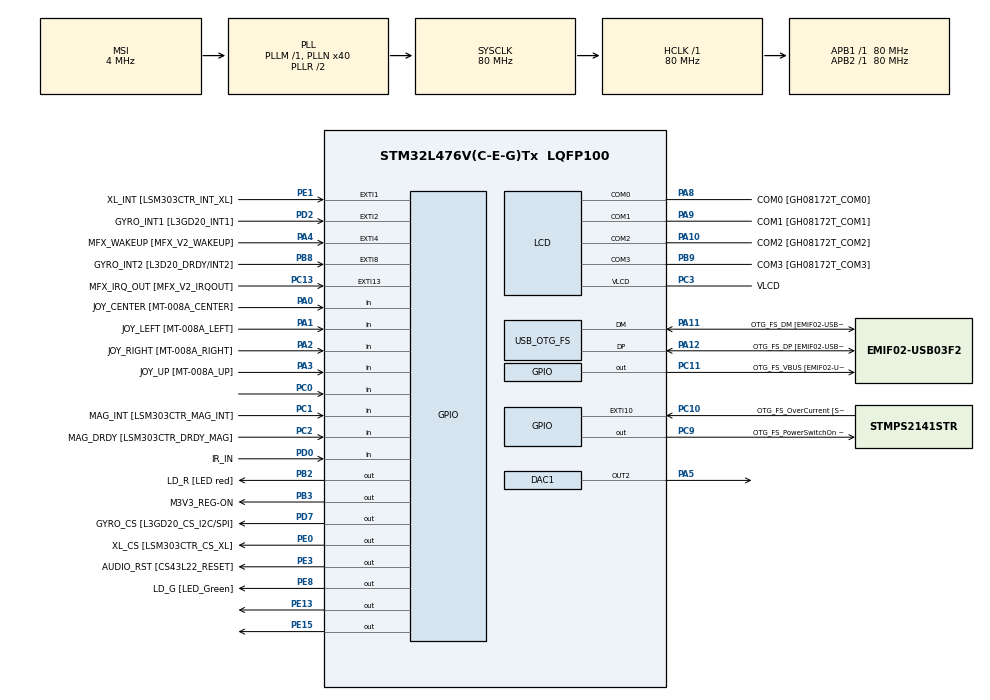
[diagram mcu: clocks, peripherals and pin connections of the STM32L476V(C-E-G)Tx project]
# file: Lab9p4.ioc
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DAC1.DAC_Channel-DAC_OUT2=DAC_CHANNEL_2
FATFS._USE_LFN=1
Mcu.Family=STM32L4
Mcu.Name=STM32L476V(C-E-G)Tx
Mcu.Package=LQFP100
NVIC.LCD_IRQn=true\:0\:0\:false\:false\:true\:true\:false\:true
NVIC.OTG_FS_IRQn=true\:0\:0\:false\:false\:true\:true\:true\:true
NVIC.PriorityGroup=NVIC_PRIORITYGROUP_4
NVIC.TIM1_TRG_COM_TIM17_IRQn=true\:0\:0\:false\:false\:true\:true\:true\:true
NVIC.TIM1_UP_TIM16_IRQn=true\:0\:0\:false\:false\:true\:true\:true\:true
NVIC.TIM2_IRQn=true\:0\:0\:false\:false\:true\:true\:true\:true
NVIC.TIM6_DAC_IRQn=true\:0\:0\:false\:false\:true\:true\:true\:true
NVIC.TIM7_IRQn=true\:0\:0\:false\:false\:true\:true\:true\:true
PA0.GPIO_Label=JOY_CENTER [MT-008A_CENTER]
PA0.GPIO_Mode=GPIO_MODE_INPUT
PA0.GPIO_PuPd=GPIO_PULLDOWN
PA0.Signal=GPIO_Input
PA1.GPIO_Label=JOY_LEFT [MT-008A_LEFT]
PA1.GPIO_Mode=GPIO_MODE_INPUT
PA1.GPIO_PuPd=GPIO_PULLDOWN
PA1.Signal=GPIO_Input
PA10.GPIO_Label=COM2 [GH08172T_COM2]
PA10.GPIO_Mode=GPIO_MODE_AF_PP
PA10.GPIO_PuPd=GPIO_NOPULL
PA10.GPIO_Speed=GPIO_SPEED_FREQ_LOW
PA10.Mode=1/4 Duty Cycle
PA10.Signal=LCD_COM2
PA11.GPIO_Label=OTG_FS_DM [EMIF02-USB03F2_D-out]
PA11.GPIO_Mode=GPIO_MODE_AF_PP
PA11.GPIO_PuPd=GPIO_NOPULL
PA11.GPIO_Speed=GPIO_SPEED_FREQ_VERY_HIGH
PA11.Mode=Host_Only
PA11.Signal=USB_OTG_FS_DM
PA12.GPIO_Label=OTG_FS_DP [EMIF02-USB03F2_D+out]
PA12.GPIO_Mode=GPIO_MODE_AF_PP
PA12.GPIO_PuPd=GPIO_NOPULL
PA12.GPIO_Speed=GPIO_SPEED_FREQ_VERY_HIGH
PA12.Mode=Host_Only
PA12.Signal=USB_OTG_FS_DP
PA13\ (JTMS-SWDIO).GPIO_Label=SWDIO
PA13\ (JTMS-SWDIO).Mode=Serial_Wire
PA13\ (JTMS-SWDIO).Signal=SYS_JTMS-SWDIO
PA14\ (JTCK-SWCLK).GPIO_Label=SWCLK
PA14\ (JTCK-SWCLK).Mode=Serial_Wire
PA14\ (JTCK-SWCLK).Signal=SYS_JTCK-SWCLK
PA15\ (JTDI).GPIO_Label=SEG10 [GH08172T_SEG10]
PA15\ (JTDI).GPIO_Mode=GPIO_MODE_AF_PP
PA15\ (JTDI).GPIO_PuPd=GPIO_NOPULL
PA15\ (JTDI).GPIO_Speed=GPIO_SPEED_FREQ_LOW
PA15\ (JTDI).Signal=LCD_SEG17
PA2.GPIO_Label=JOY_RIGHT [MT-008A_RIGHT]
PA2.GPIO_Mode=GPIO_MODE_INPUT
PA2.GPIO_PuPd=GPIO_PULLDOWN
PA2.Signal=GPIO_Input
PA3.GPIO_Label=JOY_UP [MT-008A_UP]
PA3.GPIO_Mode=GPIO_MODE_INPUT
PA3.GPIO_PuPd=GPIO_PULLDOWN
PA3.Signal=GPIO_Input
PA4.GPIO_Label=MFX_WAKEUP [MFX_V2_WAKEUP]
PA4.GPIO_ModeDefaultEXTI=GPIO_MODE_EVT_RISING
PA4.GPIO_PuPd=GPIO_NOPULL
PA4.Signal=GPXTI4
PA5.Signal=COMP_DAC12_group
PA6.GPIO_Label=SEG23 [GH08172T_SEG23]
PA6.GPIO_Mode=GPIO_MODE_AF_PP
PA6.GPIO_PuPd=GPIO_NOPULL
PA6.GPIO_Speed=GPIO_SPEED_FREQ_LOW
PA6.Signal=LCD_SEG3
PA7.GPIO_Label=SEG0 [GH08172T_SEG0]
PA7.GPIO_Mode=GPIO_MODE_AF_PP
PA7.GPIO_PuPd=GPIO_NOPULL
PA7.GPIO_Speed=GPIO_SPEED_FREQ_LOW
PA7.Signal=LCD_SEG4
PA8.GPIO_Label=COM0 [GH08172T_COM0]
PA8.GPIO_Mode=GPIO_MODE_AF_PP
PA8.GPIO_PuPd=GPIO_NOPULL
PA8.GPIO_Speed=GPIO_SPEED_FREQ_LOW
PA8.Mode=1/4 Duty Cycle
PA8.Signal=LCD_COM0
PA9.GPIO_Label=COM1 [GH08172T_COM1]
PA9.GPIO_Mode=GPIO_MODE_AF_PP
PA9.GPIO_PuPd=GPIO_NOPULL
PA9.GPIO_Speed=GPIO_SPEED_FREQ_LOW
PA9.Mode=1/4 Duty Cycle
PA9.Signal=LCD_COM1
PB0.GPIO_Label=SEG21 [GH08172T_SEG21]
PB0.GPIO_Mode=GPIO_MODE_AF_PP
PB0.GPIO_PuPd=GPIO_NOPULL
PB0.GPIO_Speed=GPIO_SPEED_FREQ_LOW
PB0.Signal=LCD_SEG5
PB1.GPIO_Label=SEG2 [GH08172T_SEG2]
PB1.GPIO_Mode=GPIO_MODE_AF_PP
PB1.GPIO_PuPd=GPIO_NOPULL
PB1.GPIO_Speed=GPIO_SPEED_FREQ_LOW
PB1.Signal=LCD_SEG6
PB10.GPIO_Label=MFX_I2C_SLC [MFX_V2_I2C_SCL]
PB10.GPIO_Mode=GPIO_MODE_AF_OD
PB10.GPIO_PuPdOD=GPIO_PULLUP
PB10.GPIO_Speed=GPIO_SPEED_FREQ_VERY_HIGH
PB10.Signal=I2C2_SCL
PB11.GPIO_Label=MFX_I2C_SDA [MFX_V2_I2C_SDA]
PB11.GPIO_Mode=GPIO_MODE_AF_OD
PB11.GPIO_PuPdOD=GPIO_PULLUP
PB11.GPIO_Speed=GPIO_SPEED_FREQ_VERY_HIGH
PB11.Signal=I2C2_SDA
PB12.GPIO_Label=SEG20 [GH08172T_SEG20]
PB12.GPIO_Mode=GPIO_MODE_AF_PP
PB12.GPIO_PuPd=GPIO_NOPULL
PB12.GPIO_Speed=GPIO_SPEED_FREQ_LOW
PB12.Signal=LCD_SEG12
PB13.GPIO_Label=SEG3 [GH08172T_SEG3]
PB13.GPIO_Mode=GPIO_MODE_AF_PP
PB13.GPIO_PuPd=GPIO_NOPULL
PB13.GPIO_Speed=GPIO_SPEED_FREQ_LOW
PB13.Signal=LCD_SEG13
PB14.GPIO_Label=SEG19 [GH08172T_SEG19]
PB14.GPIO_Mode=GPIO_MODE_AF_PP
PB14.GPIO_PuPd=GPIO_NOPULL
PB14.GPIO_Speed=GPIO_SPEED_FREQ_LOW
PB14.Signal=LCD_SEG14
PB15.GPIO_Label=SEG4 [GH08172T_SEG4]
PB15.GPIO_Mode=GPIO_MODE_AF_PP
PB15.GPIO_PuPd=GPIO_NOPULL
PB15.GPIO_Speed=GPIO_SPEED_FREQ_LOW
PB15.Signal=LCD_SEG15
PB2.GPIO_Label=LD_R [LED red]
PB2.GPIO_ModeDefaultOutputPP=GPIO_MODE_OUTPUT_PP
PB2.GPIO_PuPd=GPIO_PULLUP
PB2.GPIO_Speed=GPIO_SPEED_FREQ_VERY_HIGH
PB2.Signal=GPIO_Output
PB3\ (JTDO-TRACESWO).GPIO_Label=M3V3_REG-ON
PB3\ (JTDO-TRACESWO).GPIO_ModeDefaultOutputPP=GPIO_MODE_OUTPUT_PP
PB3\ (JTDO-TRACESWO).GPIO_PuPd=GPIO_NOPULL
PB3\ (JTDO-TRACESWO).GPIO_Speed=GPIO_SPEED_FREQ_LOW
PB3\ (JTDO-TRACESWO).Signal=GPIO_Output
PB4\ (NJTRST).GPIO_Label=SEG11 [GH08172T_SEG11]
PB4\ (NJTRST).GPIO_Mode=GPIO_MODE_AF_PP
PB4\ (NJTRST).GPIO_PuPd=GPIO_NOPULL
PB4\ (NJTRST).GPIO_Speed=GPIO_SPEED_FREQ_LOW
PB4\ (NJTRST).Signal=LCD_SEG8
PB5.GPIO_Label=SEG12 [GH08172T_SEG12]
PB5.GPIO_Mode=GPIO_MODE_AF_PP
PB5.GPIO_PuPd=GPIO_NOPULL
PB5.GPIO_Speed=GPIO_SPEED_FREQ_LOW
PB5.Signal=LCD_SEG9
PB6.GPIO_FM6=__NULL
PB6.GPIO_Label=I2C1_SCL [SSM-104-L-DH_SCL]
PB6.GPIO_Mode=GPIO_MODE_AF_OD
PB6.GPIO_PuPdOD=GPIO_PULLUP
PB6.GPIO_Speed=GPIO_SPEED_FREQ_VERY_HIGH
PB6.Signal=I2C1_SCL
PB7.GPIO_FM7=__NULL
PB7.GPIO_Label=I2C1_SDA [SSM-104-L-DH_SDA]
PB7.GPIO_Mode=GPIO_MODE_AF_OD
PB7.GPIO_PuPdOD=GPIO_PULLUP
PB7.GPIO_Speed=GPIO_SPEED_FREQ_VERY_HIGH
PB7.Signal=I2C1_SDA
PB8.GPIO_Label=GYRO_INT2 [L3D20_DRDY/INT2]
PB8.GPIO_ModeDefaultEXTI=GPIO_MODE_EVT_RISING
PB8.GPIO_PuPd=GPIO_NOPULL
PB8.Signal=GPXTI8
PB9.GPIO_FM9=__NULL
PB9.GPIO_Label=COM3 [GH08172T_COM3]
PB9.GPIO_Mode=GPIO_MODE_AF_PP
PB9.GPIO_PuPd=GPIO_NOPULL
PB9.GPIO_Speed=GPIO_SPEED_FREQ_LOW
PB9.Mode=1/4 Duty Cycle
PB9.Signal=LCD_COM3
PC0.Signal=GPIO_Input
PC1.GPIO_Label=MAG_INT [LSM303CTR_MAG_INT]
PC1.GPIO_Mode=GPIO_MODE_INPUT
PC1.GPIO_PuPd=GPIO_NOPULL
PC1.Signal=GPIO_Input
PC10.GPIO_Label=OTG_FS_OverCurrent [STMPS2141STR_FAULT]
PC10.GPIO_ModeDefaultEXTI=GPIO_MODE_EVT_RISING
PC10.GPIO_PuPd=GPIO_NOPULL
PC10.Signal=GPXTI10
PC11.GPIO_Label=OTG_FS_VBUS [EMIF02-USB03F2_Vbus]
PC11.GPIO_ModeDefaultOutputPP=GPIO_MODE_OUTPUT_PP
PC11.GPIO_PuPd=GPIO_NOPULL
PC11.GPIO_Speed=GPIO_SPEED_FREQ_LOW
PC11.Signal=GPIO_Output
PC13.GPIO_Label=MFX_IRQ_OUT [MFX_V2_IRQOUT]
PC13.GPIO_ModeDefaultEXTI=GPIO_MODE_EVT_RISING
PC13.GPIO_PuPd=GPIO_NOPULL
PC13.Signal=GPXTI13
PC14-OSC32_IN\ (PC14).Mode=LSE-External-Oscillator
PC14-OSC32_IN\ (PC14).Signal=RCC_OSC32_IN
PC15-OSC32_OUT\ (PC15).Mode=LSE-External-Oscillator
PC15-OSC32_OUT\ (PC15).Signal=RCC_OSC32_OUT
PC2.GPIO_Label=MAG_DRDY [LSM303CTR_DRDY_MAG]
PC2.GPIO_Mode=GPIO_MODE_INPUT
PC2.GPIO_PuPd=GPIO_NOPULL
PC2.Signal=GPIO_Input
PC3.GPIO_Label=VLCD
PC3.GPIO_Mode=GPIO_MODE_AF_PP
PC3.GPIO_PuPd=GPIO_NOPULL
PC3.GPIO_Speed=GPIO_SPEED_FREQ_LOW
PC3.Mode=1/4 Duty Cycle
PC3.Signal=LCD_VLCD
PC4.GPIO_Label=SEG22 [GH08172T_SEG22]
PC4.GPIO_Mode=GPIO_MODE_AF_PP
PC4.GPIO_PuPd=GPIO_NOPULL
PC4.GPIO_Speed=GPIO_SPEED_FREQ_LOW
PC4.Signal=LCD_SEG22
PC5.GPIO_Label=SEG1 [GH08172T_SEG1]
PC5.GPIO_Mode=GPIO_MODE_AF_PP
PC5.GPIO_PuPd=GPIO_NOPULL
PC5.GPIO_Speed=GPIO_SPEED_FREQ_LOW
PC5.Signal=LCD_SEG23
PC6.GPIO_Label=SEG14 [GH08172T_SEG14]
PC6.GPIO_Mode=GPIO_MODE_AF_PP
PC6.GPIO_PuPd=GPIO_NOPULL
PC6.GPIO_Speed=GPIO_SPEED_FREQ_LOW
PC6.Signal=LCD_SEG24
PC7.GPIO_Label=SEG9 [GH08172T_SEG9]
PC7.GPIO_Mode=GPIO_MODE_AF_PP
PC7.GPIO_PuPd=GPIO_NOPULL
PC7.GPIO_Speed=GPIO_SPEED_FREQ_LOW
PC7.Signal=LCD_SEG25
PC8.GPIO_Label=SEG13 [GH08172T_SEG13]
PC8.GPIO_Mode=GPIO_MODE_AF_PP
PC8.GPIO_PuPd=GPIO_NOPULL
PC8.GPIO_Speed=GPIO_SPEED_FREQ_LOW
PC8.Signal=LCD_SEG26
PC9.GPIO_Label=OTG_FS_PowerSwitchOn [STMPS2141STR_EN]
PC9.GPIO_ModeDefaultOutputPP=GPIO_MODE_OUTPUT_PP
PC9.GPIO_PuPd=GPIO_NOPULL
PC9.GPIO_Speed=GPIO_SPEED_FREQ_LOW
PC9.PinState=GPIO_PIN_SET
PC9.Signal=GPIO_Output
PD0.GPIO_Label=IR_IN
PD0.Signal=GPIO_Input
PD1.GPIO_Label=MEMS_SCK [L3GD20_SCL/SPC]
PD1.GPIO_Mode=GPIO_MODE_AF_PP
PD1.GPIO_PuPd=GPIO_NOPULL
PD1.GPIO_Speed=GPIO_SPEED_FREQ_VERY_HIGH
PD1.Signal=SPI2_SCK
PD10.GPIO_Label=SEG17 [GH08172T_SEG17]
PD10.GPIO_Mode=GPIO_MODE_AF_PP
PD10.GPIO_PuPd=GPIO_NOPULL
PD10.GPIO_Speed=GPIO_SPEED_FREQ_LOW
PD10.Signal=LCD_SEG30
PD11.GPIO_Label=SEG6 [GH08172T_SEG6]
PD11.GPIO_Mode=GPIO_MODE_AF_PP
PD11.GPIO_PuPd=GPIO_NOPULL
PD11.GPIO_Speed=GPIO_SPEED_FREQ_LOW
PD11.Signal=LCD_SEG31
PD12.GPIO_Label=SEG16 [GH08172T_SEG16]
PD12.GPIO_Mode=GPIO_MODE_AF_PP
PD12.GPIO_PuPd=GPIO_NOPULL
PD12.GPIO_Speed=GPIO_SPEED_FREQ_LOW
PD12.Signal=LCD_SEG32
PD13.GPIO_Label=SEG7 [GH08172T_SEG7]
PD13.GPIO_Mode=GPIO_MODE_AF_PP
PD13.GPIO_PuPd=GPIO_NOPULL
PD13.GPIO_Speed=GPIO_SPEED_FREQ_LOW
PD13.Signal=LCD_SEG33
PD14.GPIO_Label=SEG15 [GH08172T_SEG15]
PD14.GPIO_Mode=GPIO_MODE_AF_PP
PD14.GPIO_PuPd=GPIO_NOPULL
PD14.GPIO_Speed=GPIO_SPEED_FREQ_LOW
PD14.Signal=LCD_SEG34
PD15.GPIO_Label=SEG8 [GH08172T_SEG8]
PD15.GPIO_Mode=GPIO_MODE_AF_PP
PD15.GPIO_PuPd=GPIO_NOPULL
PD15.GPIO_Speed=GPIO_SPEED_FREQ_LOW
PD15.Signal=LCD_SEG35
PD2.GPIO_Label=GYRO_INT1 [L3GD20_INT1]
PD2.GPIO_ModeDefaultEXTI=GPIO_MODE_EVT_RISING
PD2.GPIO_PuPd=GPIO_NOPULL
PD2.Signal=GPXTI2
PD3.GPIO_Label=MEMS_MISO [L3GD20_SA0/SDO]
PD3.GPIO_Mode=GPIO_MODE_AF_PP
PD3.GPIO_PuPd=GPIO_NOPULL
PD3.GPIO_Speed=GPIO_SPEED_FREQ_VERY_HIGH
PD3.Signal=SPI2_MISO
PD4.GPIO_Label=MEMS_MOSI [L3GD20_SDA/SDI/SDO]
PD4.GPIO_Mode=GPIO_MODE_AF_PP
PD4.GPIO_PuPd=GPIO_NOPULL
PD4.GPIO_Speed=GPIO_SPEED_FREQ_VERY_HIGH
PD4.Signal=SPI2_MOSI
PD5.GPIO_Label=USART_TX
PD5.GPIO_Mode=GPIO_MODE_AF_PP
PD5.GPIO_PuPd=GPIO_PULLUP
PD5.GPIO_Speed=GPIO_SPEED_FREQ_VERY_HIGH
PD5.Signal=USART2_TX
PD6.GPIO_Label=USART_RX
PD6.GPIO_Mode=GPIO_MODE_AF_PP
PD6.GPIO_PuPd=GPIO_PULLUP
PD6.GPIO_Speed=GPIO_SPEED_FREQ_VERY_HIGH
PD6.Signal=USART2_RX
PD7.GPIO_Label=GYRO_CS [L3GD20_CS_I2C/SPI]
PD7.GPIO_ModeDefaultOutputPP=GPIO_MODE_OUTPUT_PP
PD7.GPIO_PuPd=GPIO_NOPULL
PD7.GPIO_Speed=GPIO_SPEED_FREQ_VERY_HIGH
PD7.Signal=GPIO_Output
PD8.GPIO_Label=SEG18 [GH08172T_SEG18]
PD8.GPIO_Mode=GPIO_MODE_AF_PP
PD8.GPIO_PuPd=GPIO_NOPULL
PD8.GPIO_Speed=GPIO_SPEED_FREQ_LOW
PD8.Signal=LCD_SEG28
PD9.GPIO_Label=SEG5 [GH08172T_SEG5]
PD9.GPIO_Mode=GPIO_MODE_AF_PP
PD9.GPIO_PuPd=GPIO_NOPULL
PD9.GPIO_Speed=GPIO_SPEED_FREQ_LOW
PD9.Signal=LCD_SEG29
PE0.GPIO_Label=XL_CS [LSM303CTR_CS_XL]
PE0.GPIO_ModeDefaultOutputPP=GPIO_MODE_OUTPUT_PP
PE0.GPIO_PuPd=GPIO_NOPULL
PE0.GPIO_Speed=GPIO_SPEED_FREQ_LOW
PE0.Signal=GPIO_Output
PE1.GPIO_Label=XL_INT [LSM303CTR_INT_XL]
PE1.GPIO_ModeDefaultEXTI=GPIO_MODE_EVT_RISING
PE1.GPIO_PuPd=GPIO_NOPULL
PE1.Signal=GPXTI1
PE10.GPIO_Label=QSPI_CLK [N25Q128A13EF840E_C]
PE10.GPIO_Mode=GPIO_MODE_AF_PP
PE10.GPIO_PuPd=GPIO_NOPULL
PE10.GPIO_Speed=GPIO_SPEED_FREQ_VERY_HIGH
PE10.Signal=QUADSPI_CLK
PE11.GPIO_Label=QSPI_CS [N25Q128A13EF840E_S\#]
PE11.GPIO_Mode=GPIO_MODE_AF_PP
PE11.GPIO_PuPd=GPIO_NOPULL
PE11.GPIO_Speed=GPIO_SPEED_FREQ_VERY_HIGH
PE11.Signal=QUADSPI_NCS
PE12.GPIO_Label=QSPI_D0 [N25Q128A13EF840E_DQ0]
PE12.GPIO_Mode=GPIO_MODE_AF_PP
PE12.GPIO_PuPd=GPIO_NOPULL
PE12.GPIO_Speed=GPIO_SPEED_FREQ_VERY_HIGH
PE12.Signal=QUADSPI_BK1_IO0
PE13.Signal=GPIO_Output
PE14.GPIO_Label=QSPI_D2 [N25Q128A13EF840E_DQ2]
PE14.GPIO_Mode=GPIO_MODE_AF_PP
PE14.GPIO_PuPd=GPIO_NOPULL
PE14.GPIO_Speed=GPIO_SPEED_FREQ_VERY_HIGH
PE14.Signal=QUADSPI_BK1_IO2
PE15.Signal=GPIO_Output
PE2.GPIO_Label=SAI1_MCK [CS43L22_MCLK]
PE2.GPIO_Mode=GPIO_MODE_AF_PP
PE2.GPIO_PuPd=GPIO_NOPULL
PE2.GPIO_Speed=GPIO_SPEED_FREQ_VERY_HIGH
PE2.Signal=SAI1_MCLK_A
PE3.GPIO_Label=AUDIO_RST [CS43L22_RESET]
PE3.GPIO_ModeDefaultOutputPP=GPIO_MODE_OUTPUT_PP
PE3.GPIO_PuPd=GPIO_NOPULL
PE3.GPIO_Speed=GPIO_SPEED_FREQ_HIGH
PE3.Signal=GPIO_Output
PE4.GPIO_Label=SAI1_FS [CS43L22_LRCK]
PE4.GPIO_Mode=GPIO_MODE_AF_PP
PE4.GPIO_PuPd=GPIO_NOPULL
PE4.GPIO_Speed=GPIO_SPEED_FREQ_VERY_HIGH
PE4.Signal=SAI1_FS_A
PE5.GPIO_Label=SAI1_SCK [CS43L22_SCLK]
PE5.GPIO_Mode=GPIO_MODE_AF_PP
PE5.GPIO_PuPd=GPIO_NOPULL
PE5.GPIO_Speed=GPIO_SPEED_FREQ_VERY_HIGH
PE5.Signal=SAI1_SCK_A
PE6.GPIO_Label=SAI1_SD [CS43L22_SDIN]
PE6.GPIO_Mode=GPIO_MODE_AF_PP
PE6.GPIO_PuPd=GPIO_NOPULL
PE6.GPIO_Speed=GPIO_SPEED_FREQ_VERY_HIGH
PE6.Signal=SAI1_SD_A
PE7.GPIO_Label=AUDIO_DIN [MP34DT01_DOUT]
PE7.GPIO_Mode=GPIO_MODE_AF_PP
PE7.GPIO_PuPd=GPIO_NOPULL
PE7.GPIO_Speed=GPIO_SPEED_FREQ_VERY_HIGH
PE7.Signal=SAI1_SD_B
PE8.GPIO_Label=LD_G [LED_Green]
PE8.GPIO_ModeDefaultOutputPP=GPIO_MODE_OUTPUT_PP
PE8.GPIO_PuPd=GPIO_PULLUP
PE8.GPIO_Speed=GPIO_SPEED_FREQ_VERY_HIGH
PE8.Signal=GPIO_Output
PE9.GPIO_Label=AUDIO_CLK [MP34DT01_CLK]
PE9.GPIO_Mode=GPIO_MODE_AF_PP
PE9.GPIO_PuPd=GPIO_NOPULL
PE9.GPIO_Speed=GPIO_SPEED_FREQ_LOW
PE9.Signal=SAI1_FS_B
PH0-OSC_IN\ (PH0).Mode=HSE-External-Oscillator
PH0-OSC_IN\ (PH0).Signal=RCC_OSC_IN
PH1-OSC_OUT\ (PH1).Mode=HSE-External-Oscillator
PH1-OSC_OUT\ (PH1).Signal=RCC_OSC_OUT
ProjectManager.HeapSize=0x400
ProjectManager.StackSize=0x800
ProjectManager.TargetToolchain=MDK-ARM V5.27
RCC.ADCFreq_Value=48000000
RCC.AHBFreq_Value=80000000
RCC.APB1Freq_Value=80000000
RCC.APB1TimFreq_Value=80000000
RCC.APB2Freq_Value=80000000
RCC.APB2TimFreq_Value=80000000
RCC.CortexFreq_Value=80000000
RCC.HCLKFreq_Value=80000000
RCC.HSE_VALUE=8000000
RCC.HSI_VALUE=16000000
RCC.MSI_VALUE=4000000
RCC.PLLN=40
RCC.PLLSAI1N=24
RCC.PREFETCH_ENABLE=1
RCC.SYSCLKFreq_VALUE=80000000
RCC.SYSCLKSource=RCC_SYSCLKSOURCE_PLLCLK
RCC.USBFreq_Value=48000000
RCC.VCOOutputFreq_Value=160000000
SH.COMP_DAC12_group.0=DAC1_OUT2,DAC_OUT2
TIM16.Period=39999
TIM16.Prescaler=199
TIM17.Period=4999
TIM17.Prescaler=1999
TIM2.Period=39999
TIM2.Prescaler=999
TIM6.Period=999
TIM6.Prescaler=4
TIM6.TIM_MasterOutputTrigger=TIM_TRGO_UPDATE
TIM7.Period=79
TIM7.Prescaler=99
USB_HOST.BSP.number=1
USB_HOST.USBH_HandleTypeDef=hUsbHostFS
USB_HOST.VirtualModeFS=Msc
USB_HOST0.BSP.STBoard=false
USB_HOST0.BSP.api=Unknown
USB_HOST0.BSP.instance=PC9
USB_HOST0.BSP.ip=GPIO
USB_HOST0.BSP.mode=Output
USB_HOST0.BSP.name=Drive_VBUS_FS
USB_HOST0.BSP.solution=PC9
USB_OTG_FS.VirtualMode=Host_Only
USB_OTG_FS.phy_itface=HCD_PHY_EMBEDDED
VP_FATFS_VS_USB.Mode=USB
VP_RTC_VS_RTC_Activate.Mode=RTC_Enabled
VP_TIM16_VS_ClockSourceINT.Mode=Enable_Timer
VP_TIM17_VS_ClockSourceINT.Mode=Enable_Timer
VP_TIM2_VS_ClockSourceINT.Mode=Internal
VP_TIM6_VS_ClockSourceINT.Mode=Enable_Timer
VP_TIM7_VS_ClockSourceINT.Mode=Enable_Timer
VP_USB_HOST_VS_USB_HOST_MSC_FS.Mode=MSC_FS
board=STM32L476G-DISCO

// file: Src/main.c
/* USER CODE BEGIN Header */
/**
  ******************************************************************************
  * @file           : main.c
  * @brief          : Main program body
  ******************************************************************************
  * @attention
  *
  * <h2><center>&copy; Copyright (c) 2020 STMicroelectronics.
  * All rights reserved.</center></h2>
  *
  * This software component is licensed by ST under Ultimate Liberty license
  * SLA0044, the "License"; You may not use this file except in compliance with
  * the License. You may obtain a copy of the License at:
  *                             www.st.com/SLA0044
  *
  ******************************************************************************
  */
/* USER CODE END Header */
#include "main.h"
#include "fatfs.h"
#include "usb_host.h"

/* USER CODE BEGIN Includes */
#include <stdbool.h>
#include "song16.h"
#include "stm32l476g_discovery.h"
#include "stm32l476g_discovery_glass_lcd.h"
#include "display.h"

/* USER CODE END Includes */

DAC_HandleTypeDef hdac1;

LCD_HandleTypeDef hlcd;

RTC_HandleTypeDef hrtc;

TIM_HandleTypeDef htim2;
TIM_HandleTypeDef htim6;
TIM_HandleTypeDef htim7;
TIM_HandleTypeDef htim16;
TIM_HandleTypeDef htim17;

/* USER CODE BEGIN PV */

extern ApplicationTypeDef Appli_state;

int16_t audiobuffer[NUM_ABUF][ABUF_SIZE]; 	/* File read buffer for audio */
volatile bool abuf_full[NUM_ABUF];
bool file_open = false;
int fill_buf = 0;
int lastbuffer = 0;
volatile uint8_t volume = DFLT_VOLUME;		// Volume range is 0 to 255
uint8_t noisehigh[8] = {0xff, 0xdd, 0xbb, 0x99, 0x77, 0x55, 0x33, 0x11};
char *rfilename = "songfile.raw";
volatile unsigned int irdat[SAMPLE_COUNT];
unsigned int z;
extern int IrFlag;
extern int flag;
int temp;
int cond = 1;
int thingyFlag = 0;
char tempString[300]; // changed from 100 after changing SFN to LFN
char tempString2[6];
extern int volume2;
uint8_t ch0 = 3;
extern volatile int seccount;
extern volatile int tenseccount;
extern volatile int tenmincount;
extern volatile int mincount;
extern volatile int tenth;
int index;
int next = 0;
extern int k;
extern int j;
extern int i;
extern int timeFlag;
extern int stringIndex;
int y;
int current_song_index = 0;
char pathbuffer[300]; // changed from 100 after changing SFN to LFN
char songlist[100][300]; // changed from 100 to 300 after changing SFN to LFN
extern int count;
#define IR_A 0x00ff22dd
#define IR_B 0x00ff02fd
#define IR_C 0x00ffc23d
#define IR_POWER 0x00ff629d
#define IR_UP 0x00ff9867
#define IR_DOWN 0x00ff38c7
#define IR_LEFT 0x00ff30cf
#define IR_RIGHT 0x00ff7a85
#define IR_CIRCLE 0x00ff18e7
int globalCount = 0;

FIL MyFile;                   /* File object */

/* USER CODE END PV */

void SystemClock_Config(void);
static void MX_GPIO_Init(void);
static void MX_DAC1_Init(void);
static void MX_TIM6_Init(void);
static void MX_RTC_Init(void);
static void MX_LCD_Init(void);
static void MX_TIM16_Init(void);
static void MX_TIM7_Init(void);
static void MX_TIM17_Init(void);
static void MX_TIM2_Init(void);
void MX_USB_HOST_Process(void);

/* USER CODE BEGIN PFP */

extern void spi32(unsigned int c);
extern void send_array(uint32_t header, uint32_t color, uint32_t end);
/* USER CODE END PFP */

/* USER CODE BEGIN 0 */

FRESULT scan_files(char* path) {
    FRESULT res;
    DIR dir;
    int i;
    index = 0; // Reset the index for the songlist
    static FILINFO fno;
    res = f_opendir(&dir, path); // Open the directory
    if (res == FR_OK) {
        while (1) {
            res = f_readdir(&dir, &fno); // Read a directory item
            if (res != FR_OK || fno.fname[0] == 0) break; // Break on error or end of dir
            if (fno.fattrib & AM_DIR) { // It is a directory
                i = strlen(path);
                sprintf(&path[i], "/%s", fno.fname);
                res = scan_files(path); // Enter the directory
                if (res != FR_OK) break;
                path[i] = 0;
            } else {  // It is a file
							if(strcmp(&fno.fname[strlen(fno.fname)-3], "raw")==0) //raw formerly RAW for SFN
							{
                sprintf(songlist[index], "%s", fno.fname);
                index++;
							}
        }
			}
        f_closedir(&dir);
    }
    return res;
}

static void FS_FileOpen(void) {
    if (f_mount(&USBHFatFS, (TCHAR const*)USBHPath, 0) == FR_OK) {
        // Open the current song file from the songlist
        if (f_open(&MyFile, songlist[current_song_index], FA_READ) == FR_OK) {
            HAL_GPIO_WritePin(LD_G_GPIO_Port, LD_G_Pin, GPIO_PIN_SET);
            file_open = true;
            return;
        }
    }
    HAL_GPIO_WritePin(LD_R_GPIO_Port, LD_R_Pin, GPIO_PIN_SET);
}

static void FS_FileClose(void) {
	/* Close the open text file */
	f_close(&MyFile);
	file_open = false;
}

static void FS_NextSong(void) {
    // Close the current file if it's open
    if (file_open) {
        FS_FileClose();
    }
    // Increment the song index and wrap around if necessary
    current_song_index++;
    if (current_song_index >= 35)
		{ // Assuming 'index' holds the total number of songs
        current_song_index = 0; // Wrap around to the first song
    }
    // Open the next song
    FS_FileOpen();
}
static void FS_FileRead(uint8_t *abuffer) {
	FRESULT res;                            /* FatFs function common result code */
  uint32_t bytesread;                     /* File write/read counts */

	 			/* Read data from the 16-bit raw file if the next buffer is free */
	res = f_read(&MyFile, abuffer, ABUF_BYTE_SIZE, (void *)&bytesread);
	if((bytesread < ABUF_BYTE_SIZE) && (res == FR_OK)) {
		lastbuffer = bytesread;
		for (int i = bytesread/2; i<ABUF_BYTE_SIZE/2; i++) {
			abuffer[i+i+1] = noisehigh[i%8];
			abuffer[i+i] = 0;
		}
	}
}

void write_DAC1Ch2(int16_t dacval, uint8_t volume) {
	int tempval;
	tempval = (((int) dacval * (int) volume) + 8388608) >> 12;
	hdac1.Instance->DHR12R2 = tempval;
}

uint32_t parseIRCode()
	{
    uint32_t num = 0;
		int count = 0;
		int arrayCount = 0;
		uint32_t mask = 0x80000000;
		/*skips header */
		while(irdat[arrayCount] !=0)
		{
			arrayCount++;
		}
		while(irdat[arrayCount] !=1)
		{
			arrayCount++;
		}
		/* skips header */
		while(arrayCount != SAMPLE_COUNT)
		{
			if(irdat[arrayCount] ==0)
			{
				count++;
			}
			else
			{
				if(count < 8 && count !=0)
				{
					mask/=2;
				}
				else if(count > 8 && count != 0)
				{
					num |= mask;
					mask/=2;
				}
				count = 0;
			}
			arrayCount++;
		}
		return num;
	}

/* USER CODE END 0 */

int main(void)
{

  /* MCU Configuration--------------------------------------------------------*/

  /* Reset of all peripherals, Initializes the Flash interface and the Systick. */
  HAL_Init();

  /* Configure the system clock */
  SystemClock_Config();

  /* Initialize all configured peripherals */
  MX_GPIO_Init();
  MX_USB_HOST_Init();
  MX_FATFS_Init();
  MX_DAC1_Init();
  MX_TIM6_Init();
  MX_RTC_Init();
  MX_LCD_Init();
  MX_TIM16_Init();
  MX_TIM7_Init();
  MX_TIM17_Init();
  MX_TIM2_Init();
  /* USER CODE BEGIN 2 */

	/* initialize data structures */

	for (int i=0; i<NUM_ABUF; i++) {
		abuf_full[i] = false;
	}
	/* start devices */

  HAL_DAC_Start(&hdac1, DAC1_CHANNEL_2);
	HAL_TIM_Base_Start_IT(&htim6);			/* Start Timer 6 at 16KHz to run DAC */
	HAL_TIM_Base_Start_IT(&htim16);
	HAL_TIM_Base_Start_IT(&htim7);
	HAL_TIM_Base_Start_IT(&htim17);
	BSP_LCD_GLASS_Init();
	BSP_LCD_GLASS_Clear();
    HAL_TIM_Base_Start_IT(&htim2);
	uint8_t x = 48;//set up all zeroes
	//BSP_LCD_GLASS_DisplayChar(&x, POINT_OFF, DOUBLEPOINT_OFF , 5);
	//BSP_LCD_GLASS_DisplayChar(&x, POINT_OFF, DOUBLEPOINT_OFF , 4);
	//BSP_LCD_GLASS_DisplayChar(&x, POINT_OFF, DOUBLEPOINT_ON , 3);
	//BSP_LCD_GLASS_DisplayChar(&x, POINT_OFF, DOUBLEPOINT_OFF , 2);
	BSP_LCD_GLASS_BarLevelConfig(ch0);
	send_array(0x00000000, 0xe0000000, 0xffffffff);
  /* USER CODE END 2 */

  /* Infinite loop */
  /* USER CODE BEGIN WHILE */
	current_song_index = 25;
  while (1)
  {
      if(flag==2 && lastbuffer !=0)
      {
          IrFlag=1;
          next = 1;
          current_song_index++;
      }
    /* USER CODE END WHILE */
    MX_USB_HOST_Process();

    /* USER CODE BEGIN 3 */
    /* Mass Storage Application State Machine */
      int i1=0;
	while(songlist[current_song_index][i1] != NULL && thingyFlag != 1)
		{

            tempString[i1] = songlist[current_song_index][i1];
            i1++;
            if(songlist[current_song_index][i1] == '~' || songlist[current_song_index][i1] == '.')
            {
                thingyFlag = 1;
            }

		}
		if(IrFlag == 1)
		{
			uint32_t num = parseIRCode();
			if(num == IR_A)
			{

			}
			if(num == IR_B)
			{
				abuf_full[0] = true;
				abuf_full[1] = true;
				for(index=0; index < ABUF_SIZE; index++)
				{
					audiobuffer[0][index] = 0;
					audiobuffer[1][index] = 0;
				}
				if(flag == 2)
				{
					flag = 0;
					Appli_state = APPLICATION_READY;
					count = 0;
					k=0;
				}
				i=0;
				j=0;
				abuf_full[0] = false;
				abuf_full[1] = false;
				fill_buf = 0;
				lastbuffer = 0;
				FS_FileClose();
				file_open = false;
				BSP_LCD_GLASS_Clear();
				x = 48;//set up all zeroes
				seccount = 0;
				tenseccount = 0;
				tenmincount = 0;
				mincount = 0;
				tenth = 0;
				BSP_LCD_GLASS_BarLevelConfig(ch0);
				current_song_index--;
				if(current_song_index<0)
				{
					current_song_index = 34;
				}
				timeFlag=0;
        stringIndex=0;
        thingyFlag = 0;
			  memset(tempString,0,strlen(tempString));
              /*  tempString[0] = NULL;
                tempString[1] = NULL;
                tempString[2] = NULL;
                tempString[3] = NULL; //this was the old method for sfn. Ill keep around just in case
                tempString[4] = NULL;
                tempString[5] = NULL;
                tempString[6] = NULL;
                tempString[7] = NULL; */

			}
			if(num == IR_C)
			{

			}
			if(num == IR_POWER)
			{

			}

			if(num == IR_UP)
			{
				if(volume2+VOLUME_INCREMENT < 255)
				{
					volume2 += VOLUME_INCREMENT;
				}
				if(volume2 > 190)
				{
					ch0=4;
				}
				if(volume2 > 130 && volume2 <= 190)
				{
					ch0=3;
				}
				if(volume2 <= 130 && volume2 > 70)
				{
					ch0=2;
				}
				if(volume2 <=70)
				{
					ch0 = 1;
				}
			}

			if(num == IR_DOWN)
			{
				if(volume2-VOLUME_INCREMENT > 0)
				{
					volume2 -= VOLUME_INCREMENT;
				}
				if(volume2 > 190)
				{
					ch0=4;
				}
				if(volume2 > 130 && volume2 <= 190)
				{
					ch0=3;
				}
				if(volume2 <= 130 && volume2 > 70)
				{
					ch0=2;
				}
				if(volume2 <=70)
				{
					ch0 = 1;
				}
			}

			if(num == IR_LEFT)
			{
				abuf_full[0] = true;
				abuf_full[1] = true;
				for(index=0; index < ABUF_SIZE; index++)
				{
					audiobuffer[0][index] = 0;
					audiobuffer[1][index] = 0;
				}
				if(flag == 2)
				{
					flag = 0;
					Appli_state = APPLICATION_READY;
					count = 0;
					k=0;
				}
				i=0;
				j=0;
				abuf_full[0] = false;
				abuf_full[1] = false;
				fill_buf = 0;
				lastbuffer = 0;
				FS_FileClose();
				file_open = false;
				BSP_LCD_GLASS_Clear();
				x = 48;//set up all zeroes
				seccount = 0;
				tenseccount = 0;
				tenmincount = 0;
				mincount = 0;
				tenth = 0;
				BSP_LCD_GLASS_BarLevelConfig(ch0);
				timeFlag=0;
        stringIndex=0;
        thingyFlag = 0;
        memset(tempString,0,strlen(tempString));
			}
			if(num == IR_RIGHT || next == 1)
			{
				next=0;
				abuf_full[0] = true;
				abuf_full[1] = true;
				for(index=0; index < ABUF_SIZE; index++)
				{
					audiobuffer[0][index] = 0;
					audiobuffer[1][index] = 0;
				}
				if(flag == 2)
				{
					flag = 0;
					Appli_state = APPLICATION_READY;
					count = 0;
					k=0;
				}
				i=0;
				j=0;
				abuf_full[0] = false;
				abuf_full[1] = false;
				fill_buf = 0;
				lastbuffer = 0;
				FS_FileClose();
				file_open = false;
				BSP_LCD_GLASS_Clear();
				x = 48;//set up all zeroes
				seccount = 0;
				tenseccount = 0;
				tenmincount = 0;
				mincount = 0;
				tenth = 0;
				BSP_LCD_GLASS_BarLevelConfig(ch0);
				current_song_index++;
				if(current_song_index>34)
				{
					current_song_index = 0;
				}
				timeFlag=0;
				stringIndex=0;
				thingyFlag = 0;
				memset(tempString,0,strlen(tempString));
			}
			if(num == IR_CIRCLE)
			{
				//HAL_GPIO_TogglePin(LD_G_GPIO_Port, LD_G_Pin);
				if(flag == 2)
				{
					flag = temp;
				}
				else
				{
					temp = flag;
					flag = 2;
				}
			}
			IrFlag=0;
		}

			switch (Appli_state) {
    case APPLICATION_READY:
			if(cond)
			{
				if(f_mount(&USBHFatFS, (TCHAR const*)USBHPath, 0) == FR_OK)
				{
					strcpy(pathbuffer, "");
					if(scan_files(pathbuffer)==FR_OK)
						cond=0;
						current_song_index = 0;
				}
			}
        if (!file_open) FS_FileOpen();
        if (file_open && (lastbuffer == 0)) {
            if (!abuf_full[fill_buf]) {
							FS_FileRead((uint8_t *)audiobuffer[fill_buf]);
                abuf_full[fill_buf++] = true;
                fill_buf = fill_buf % NUM_ABUF;
            }
        }
        if (file_open && (lastbuffer != 0)) {
            FS_FileClose();
            FS_NextSong(); // Proceed to the next song
        }
        break;

    case APPLICATION_IDLE:
    default:
        break;
	}
			if (i!=0)
			{
				y = i;
			}
			else
			{
				y = j;
			}
		}
  /* USER CODE END 3 */
}

void SystemClock_Config(void)
{
  RCC_OscInitTypeDef RCC_OscInitStruct = {0};
  RCC_ClkInitTypeDef RCC_ClkInitStruct = {0};

  /** Configure the main internal regulator output voltage
  */
  if (HAL_PWREx_ControlVoltageScaling(PWR_REGULATOR_VOLTAGE_SCALE1) != HAL_OK)
  {
    Error_Handler();
  }

  /** Configure LSE Drive Capability
  */
  HAL_PWR_EnableBkUpAccess();
  __HAL_RCC_LSEDRIVE_CONFIG(RCC_LSEDRIVE_LOW);

  /** Initializes the RCC Oscillators according to the specified parameters
  * in the RCC_OscInitTypeDef structure.
  */
  RCC_OscInitStruct.OscillatorType = RCC_OSCILLATORTYPE_LSI|RCC_OSCILLATORTYPE_LSE
                              |RCC_OSCILLATORTYPE_MSI;
  RCC_OscInitStruct.LSEState = RCC_LSE_ON;
  RCC_OscInitStruct.LSIState = RCC_LSI_ON;
  RCC_OscInitStruct.MSIState = RCC_MSI_ON;
  RCC_OscInitStruct.MSICalibrationValue = 0;
  RCC_OscInitStruct.MSIClockRange = RCC_MSIRANGE_6;
  RCC_OscInitStruct.PLL.PLLState = RCC_PLL_ON;
  RCC_OscInitStruct.PLL.PLLSource = RCC_PLLSOURCE_MSI;
  RCC_OscInitStruct.PLL.PLLM = 1;
  RCC_OscInitStruct.PLL.PLLN = 40;
  RCC_OscInitStruct.PLL.PLLP = RCC_PLLP_DIV7;
  RCC_OscInitStruct.PLL.PLLQ = RCC_PLLQ_DIV2;
  RCC_OscInitStruct.PLL.PLLR = RCC_PLLR_DIV2;
  if (HAL_RCC_OscConfig(&RCC_OscInitStruct) != HAL_OK)
  {
    Error_Handler();
  }

  /** Initializes the CPU, AHB and APB buses clocks
  */
  RCC_ClkInitStruct.ClockType = RCC_CLOCKTYPE_HCLK|RCC_CLOCKTYPE_SYSCLK
                              |RCC_CLOCKTYPE_PCLK1|RCC_CLOCKTYPE_PCLK2;
  RCC_ClkInitStruct.SYSCLKSource = RCC_SYSCLKSOURCE_PLLCLK;
  RCC_ClkInitStruct.AHBCLKDivider = RCC_SYSCLK_DIV1;
  RCC_ClkInitStruct.APB1CLKDivider = RCC_HCLK_DIV1;
  RCC_ClkInitStruct.APB2CLKDivider = RCC_HCLK_DIV1;

  if (HAL_RCC_ClockConfig(&RCC_ClkInitStruct, FLASH_LATENCY_4) != HAL_OK)
  {
    Error_Handler();
  }

  /** Enable MSI Auto calibration
  */
  HAL_RCCEx_EnableMSIPLLMode();
}

static void MX_DAC1_Init(void)
{

  DAC_ChannelConfTypeDef sConfig = {0};

  /** DAC Initialization
  */
  hdac1.Instance = DAC1;
  if (HAL_DAC_Init(&hdac1) != HAL_OK)
  {
    Error_Handler();
  }

  /** DAC channel OUT2 config
  */
  sConfig.DAC_SampleAndHold = DAC_SAMPLEANDHOLD_DISABLE;
  sConfig.DAC_Trigger = DAC_TRIGGER_NONE;
  sConfig.DAC_OutputBuffer = DAC_OUTPUTBUFFER_ENABLE;
  sConfig.DAC_ConnectOnChipPeripheral = DAC_CHIPCONNECT_DISABLE;
  sConfig.DAC_UserTrimming = DAC_TRIMMING_FACTORY;
  if (HAL_DAC_ConfigChannel(&hdac1, &sConfig, DAC_CHANNEL_2) != HAL_OK)
  {
    Error_Handler();
  }

}

static void MX_LCD_Init(void)
{

  hlcd.Instance = LCD;
  hlcd.Init.Prescaler = LCD_PRESCALER_1;
  hlcd.Init.Divider = LCD_DIVIDER_16;
  hlcd.Init.Duty = LCD_DUTY_1_4;
  hlcd.Init.Bias = LCD_BIAS_1_4;
  hlcd.Init.VoltageSource = LCD_VOLTAGESOURCE_INTERNAL;
  hlcd.Init.Contrast = LCD_CONTRASTLEVEL_0;
  hlcd.Init.DeadTime = LCD_DEADTIME_0;
  hlcd.Init.PulseOnDuration = LCD_PULSEONDURATION_0;
  hlcd.Init.MuxSegment = LCD_MUXSEGMENT_DISABLE;
  hlcd.Init.BlinkMode = LCD_BLINKMODE_OFF;
  hlcd.Init.BlinkFrequency = LCD_BLINKFREQUENCY_DIV8;
  hlcd.Init.HighDrive = LCD_HIGHDRIVE_DISABLE;
  if (HAL_LCD_Init(&hlcd) != HAL_OK)
  {
    Error_Handler();
  }

}

static void MX_RTC_Init(void)
{

  /** Initialize RTC Only
  */
  hrtc.Instance = RTC;
  hrtc.Init.HourFormat = RTC_HOURFORMAT_24;
  hrtc.Init.AsynchPrediv = 127;
  hrtc.Init.SynchPrediv = 255;
  hrtc.Init.OutPut = RTC_OUTPUT_DISABLE;
  hrtc.Init.OutPutRemap = RTC_OUTPUT_REMAP_NONE;
  hrtc.Init.OutPutPolarity = RTC_OUTPUT_POLARITY_HIGH;
  hrtc.Init.OutPutType = RTC_OUTPUT_TYPE_OPENDRAIN;
  if (HAL_RTC_Init(&hrtc) != HAL_OK)
  {
    Error_Handler();
  }

}

static void MX_TIM2_Init(void)
{

  TIM_ClockConfigTypeDef sClockSourceConfig = {0};
  TIM_MasterConfigTypeDef sMasterConfig = {0};

  htim2.Instance = TIM2;
  htim2.Init.Prescaler = 999;
  htim2.Init.CounterMode = TIM_COUNTERMODE_UP;
  htim2.Init.Period = 39999;
  htim2.Init.ClockDivision = TIM_CLOCKDIVISION_DIV1;
  htim2.Init.AutoReloadPreload = TIM_AUTORELOAD_PRELOAD_DISABLE;
  if (HAL_TIM_Base_Init(&htim2) != HAL_OK)
  {
    Error_Handler();
  }
  sClockSourceConfig.ClockSource = TIM_CLOCKSOURCE_INTERNAL;
  if (HAL_TIM_ConfigClockSource(&htim2, &sClockSourceConfig) != HAL_OK)
  {
    Error_Handler();
  }
  sMasterConfig.MasterOutputTrigger = TIM_TRGO_RESET;
  sMasterConfig.MasterSlaveMode = TIM_MASTERSLAVEMODE_DISABLE;
  if (HAL_TIMEx_MasterConfigSynchronization(&htim2, &sMasterConfig) != HAL_OK)
  {
    Error_Handler();
  }

}

static void MX_TIM6_Init(void)
{

  TIM_MasterConfigTypeDef sMasterConfig = {0};

  htim6.Instance = TIM6;
  htim6.Init.Prescaler = 4;
  htim6.Init.CounterMode = TIM_COUNTERMODE_UP;
  htim6.Init.Period = 999;
  htim6.Init.AutoReloadPreload = TIM_AUTORELOAD_PRELOAD_DISABLE;
  if (HAL_TIM_Base_Init(&htim6) != HAL_OK)
  {
    Error_Handler();
  }
  sMasterConfig.MasterOutputTrigger = TIM_TRGO_UPDATE;
  sMasterConfig.MasterSlaveMode = TIM_MASTERSLAVEMODE_DISABLE;
  if (HAL_TIMEx_MasterConfigSynchronization(&htim6, &sMasterConfig) != HAL_OK)
  {
    Error_Handler();
  }

}

static void MX_TIM7_Init(void)
{

  TIM_MasterConfigTypeDef sMasterConfig = {0};

  htim7.Instance = TIM7;
  htim7.Init.Prescaler = 99;
  htim7.Init.CounterMode = TIM_COUNTERMODE_UP;
  htim7.Init.Period = 79;
  htim7.Init.AutoReloadPreload = TIM_AUTORELOAD_PRELOAD_DISABLE;
  if (HAL_TIM_Base_Init(&htim7) != HAL_OK)
  {
    Error_Handler();
  }
  sMasterConfig.MasterOutputTrigger = TIM_TRGO_RESET;
  sMasterConfig.MasterSlaveMode = TIM_MASTERSLAVEMODE_DISABLE;
  if (HAL_TIMEx_MasterConfigSynchronization(&htim7, &sMasterConfig) != HAL_OK)
  {
    Error_Handler();
  }

}

static void MX_TIM16_Init(void)
{

  htim16.Instance = TIM16;
  htim16.Init.Prescaler = 199;
  htim16.Init.CounterMode = TIM_COUNTERMODE_UP;
  htim16.Init.Period = 39999;
  htim16.Init.ClockDivision = TIM_CLOCKDIVISION_DIV1;
  htim16.Init.RepetitionCounter = 0;
  htim16.Init.AutoReloadPreload = TIM_AUTORELOAD_PRELOAD_DISABLE;
  if (HAL_TIM_Base_Init(&htim16) != HAL_OK)
  {
    Error_Handler();
  }

}

static void MX_TIM17_Init(void)
{

  htim17.Instance = TIM17;
  htim17.Init.Prescaler = 1999;
  htim17.Init.CounterMode = TIM_COUNTERMODE_UP;
  htim17.Init.Period = 4999;
  htim17.Init.ClockDivision = TIM_CLOCKDIVISION_DIV1;
  htim17.Init.RepetitionCounter = 0;
  htim17.Init.AutoReloadPreload = TIM_AUTORELOAD_PRELOAD_DISABLE;
  if (HAL_TIM_Base_Init(&htim17) != HAL_OK)
  {
    Error_Handler();
  }

}

static void MX_GPIO_Init(void)
{
  GPIO_InitTypeDef GPIO_InitStruct = {0};

  /* GPIO Ports Clock Enable */
  __HAL_RCC_GPIOE_CLK_ENABLE();
  __HAL_RCC_GPIOC_CLK_ENABLE();
  __HAL_RCC_GPIOH_CLK_ENABLE();
  __HAL_RCC_GPIOA_CLK_ENABLE();
  __HAL_RCC_GPIOB_CLK_ENABLE();
  __HAL_RCC_GPIOD_CLK_ENABLE();

  /*Configure GPIO pin Output Level */
  HAL_GPIO_WritePin(GPIOE, AUDIO_RST_Pin|LD_G_Pin|GPIO_PIN_13|GPIO_PIN_15
                          |XL_CS_Pin, GPIO_PIN_RESET);

  /*Configure GPIO pin Output Level */
  HAL_GPIO_WritePin(GPIOB, LD_R_Pin|M3V3_REG_ON_Pin, GPIO_PIN_RESET);

  /*Configure GPIO pin Output Level */
  HAL_GPIO_WritePin(OTG_FS_PowerSwitchOn_GPIO_Port, OTG_FS_PowerSwitchOn_Pin, GPIO_PIN_SET);

  /*Configure GPIO pin Output Level */
  HAL_GPIO_WritePin(OTG_FS_VBUS_GPIO_Port, OTG_FS_VBUS_Pin, GPIO_PIN_RESET);

  /*Configure GPIO pin Output Level */
  HAL_GPIO_WritePin(GYRO_CS_GPIO_Port, GYRO_CS_Pin, GPIO_PIN_RESET);

  /*Configure GPIO pins : SAI1_MCK_Pin SAI1_FS_Pin SAI1_SCK_Pin SAI1_SD_Pin
                           AUDIO_DIN_Pin */
  GPIO_InitStruct.Pin = SAI1_MCK_Pin|SAI1_FS_Pin|SAI1_SCK_Pin|SAI1_SD_Pin
                          |AUDIO_DIN_Pin;
  GPIO_InitStruct.Mode = GPIO_MODE_AF_PP;
  GPIO_InitStruct.Pull = GPIO_NOPULL;
  GPIO_InitStruct.Speed = GPIO_SPEED_FREQ_VERY_HIGH;
  GPIO_InitStruct.Alternate = GPIO_AF13_SAI1;
  HAL_GPIO_Init(GPIOE, &GPIO_InitStruct);

  /*Configure GPIO pin : AUDIO_RST_Pin */
  GPIO_InitStruct.Pin = AUDIO_RST_Pin;
  GPIO_InitStruct.Mode = GPIO_MODE_OUTPUT_PP;
  GPIO_InitStruct.Pull = GPIO_NOPULL;
  GPIO_InitStruct.Speed = GPIO_SPEED_FREQ_HIGH;
  HAL_GPIO_Init(AUDIO_RST_GPIO_Port, &GPIO_InitStruct);

  /*Configure GPIO pins : MFX_IRQ_OUT_Pin OTG_FS_OverCurrent_Pin */
  GPIO_InitStruct.Pin = MFX_IRQ_OUT_Pin|OTG_FS_OverCurrent_Pin;
  GPIO_InitStruct.Mode = GPIO_MODE_EVT_RISING;
  GPIO_InitStruct.Pull = GPIO_NOPULL;
  HAL_GPIO_Init(GPIOC, &GPIO_InitStruct);

  /*Configure GPIO pins : PC0 MAG_INT_Pin MAG_DRDY_Pin */
  GPIO_InitStruct.Pin = GPIO_PIN_0|MAG_INT_Pin|MAG_DRDY_Pin;
  GPIO_InitStruct.Mode = GPIO_MODE_INPUT;
  GPIO_InitStruct.Pull = GPIO_NOPULL;
  HAL_GPIO_Init(GPIOC, &GPIO_InitStruct);

  /*Configure GPIO pins : JOY_CENTER_Pin JOY_LEFT_Pin JOY_RIGHT_Pin JOY_UP_Pin */
  GPIO_InitStruct.Pin = JOY_CENTER_Pin|JOY_LEFT_Pin|JOY_RIGHT_Pin|JOY_UP_Pin;
  GPIO_InitStruct.Mode = GPIO_MODE_INPUT;
  GPIO_InitStruct.Pull = GPIO_PULLDOWN;
  HAL_GPIO_Init(GPIOA, &GPIO_InitStruct);

  /*Configure GPIO pin : MFX_WAKEUP_Pin */
  GPIO_InitStruct.Pin = MFX_WAKEUP_Pin;
  GPIO_InitStruct.Mode = GPIO_MODE_EVT_RISING;
  GPIO_InitStruct.Pull = GPIO_NOPULL;
  HAL_GPIO_Init(MFX_WAKEUP_GPIO_Port, &GPIO_InitStruct);

  /*Configure GPIO pin : LD_R_Pin */
  GPIO_InitStruct.Pin = LD_R_Pin;
  GPIO_InitStruct.Mode = GPIO_MODE_OUTPUT_PP;
  GPIO_InitStruct.Pull = GPIO_PULLUP;
  GPIO_InitStruct.Speed = GPIO_SPEED_FREQ_VERY_HIGH;
  HAL_GPIO_Init(LD_R_GPIO_Port, &GPIO_InitStruct);

  /*Configure GPIO pin : LD_G_Pin */
  GPIO_InitStruct.Pin = LD_G_Pin;
  GPIO_InitStruct.Mode = GPIO_MODE_OUTPUT_PP;
  GPIO_InitStruct.Pull = GPIO_PULLUP;
  GPIO_InitStruct.Speed = GPIO_SPEED_FREQ_VERY_HIGH;
  HAL_GPIO_Init(LD_G_GPIO_Port, &GPIO_InitStruct);

  /*Configure GPIO pin : AUDIO_CLK_Pin */
  GPIO_InitStruct.Pin = AUDIO_CLK_Pin;
  GPIO_InitStruct.Mode = GPIO_MODE_AF_PP;
  GPIO_InitStruct.Pull = GPIO_NOPULL;
  GPIO_InitStruct.Speed = GPIO_SPEED_FREQ_LOW;
  GPIO_InitStruct.Alternate = GPIO_AF13_SAI1;
  HAL_GPIO_Init(AUDIO_CLK_GPIO_Port, &GPIO_InitStruct);

  /*Configure GPIO pins : QSPI_CLK_Pin QSPI_CS_Pin QSPI_D0_Pin QSPI_D2_Pin */
  GPIO_InitStruct.Pin = QSPI_CLK_Pin|QSPI_CS_Pin|QSPI_D0_Pin|QSPI_D2_Pin;
  GPIO_InitStruct.Mode = GPIO_MODE_AF_PP;
  GPIO_InitStruct.Pull = GPIO_NOPULL;
  GPIO_InitStruct.Speed = GPIO_SPEED_FREQ_VERY_HIGH;
  GPIO_InitStruct.Alternate = GPIO_AF10_QUADSPI;
  HAL_GPIO_Init(GPIOE, &GPIO_InitStruct);

  /*Configure GPIO pins : PE13 PE15 XL_CS_Pin */
  GPIO_InitStruct.Pin = GPIO_PIN_13|GPIO_PIN_15|XL_CS_Pin;
  GPIO_InitStruct.Mode = GPIO_MODE_OUTPUT_PP;
  GPIO_InitStruct.Pull = GPIO_NOPULL;
  GPIO_InitStruct.Speed = GPIO_SPEED_FREQ_LOW;
  HAL_GPIO_Init(GPIOE, &GPIO_InitStruct);

  /*Configure GPIO pins : MFX_I2C_SLC_Pin MFX_I2C_SDA_Pin */
  GPIO_InitStruct.Pin = MFX_I2C_SLC_Pin|MFX_I2C_SDA_Pin;
  GPIO_InitStruct.Mode = GPIO_MODE_AF_OD;
  GPIO_InitStruct.Pull = GPIO_NOPULL;
  GPIO_InitStruct.Speed = GPIO_SPEED_FREQ_VERY_HIGH;
  GPIO_InitStruct.Alternate = GPIO_AF4_I2C2;
  HAL_GPIO_Init(GPIOB, &GPIO_InitStruct);

  /*Configure GPIO pins : OTG_FS_PowerSwitchOn_Pin OTG_FS_VBUS_Pin */
  GPIO_InitStruct.Pin = OTG_FS_PowerSwitchOn_Pin|OTG_FS_VBUS_Pin;
  GPIO_InitStruct.Mode = GPIO_MODE_OUTPUT_PP;
  GPIO_InitStruct.Pull = GPIO_NOPULL;
  GPIO_InitStruct.Speed = GPIO_SPEED_FREQ_LOW;
  HAL_GPIO_Init(GPIOC, &GPIO_InitStruct);

  /*Configure GPIO pin : IR_IN_Pin */
  GPIO_InitStruct.Pin = IR_IN_Pin;
  GPIO_InitStruct.Mode = GPIO_MODE_INPUT;
  GPIO_InitStruct.Pull = GPIO_NOPULL;
  HAL_GPIO_Init(IR_IN_GPIO_Port, &GPIO_InitStruct);

  /*Configure GPIO pins : MEMS_SCK_Pin MEMS_MISO_Pin MEMS_MOSI_Pin */
  GPIO_InitStruct.Pin = MEMS_SCK_Pin|MEMS_MISO_Pin|MEMS_MOSI_Pin;
  GPIO_InitStruct.Mode = GPIO_MODE_AF_PP;
  GPIO_InitStruct.Pull = GPIO_NOPULL;
  GPIO_InitStruct.Speed = GPIO_SPEED_FREQ_VERY_HIGH;
  GPIO_InitStruct.Alternate = GPIO_AF5_SPI2;
  HAL_GPIO_Init(GPIOD, &GPIO_InitStruct);

  /*Configure GPIO pin : GYRO_INT1_Pin */
  GPIO_InitStruct.Pin = GYRO_INT1_Pin;
  GPIO_InitStruct.Mode = GPIO_MODE_EVT_RISING;
  GPIO_InitStruct.Pull = GPIO_NOPULL;
  HAL_GPIO_Init(GYRO_INT1_GPIO_Port, &GPIO_InitStruct);

  /*Configure GPIO pins : USART_TX_Pin USART_RX_Pin */
  GPIO_InitStruct.Pin = USART_TX_Pin|USART_RX_Pin;
  GPIO_InitStruct.Mode = GPIO_MODE_AF_PP;
  GPIO_InitStruct.Pull = GPIO_PULLUP;
  GPIO_InitStruct.Speed = GPIO_SPEED_FREQ_VERY_HIGH;
  GPIO_InitStruct.Alternate = GPIO_AF7_USART2;
  HAL_GPIO_Init(GPIOD, &GPIO_InitStruct);

  /*Configure GPIO pin : GYRO_CS_Pin */
  GPIO_InitStruct.Pin = GYRO_CS_Pin;
  GPIO_InitStruct.Mode = GPIO_MODE_OUTPUT_PP;
  GPIO_InitStruct.Pull = GPIO_NOPULL;
  GPIO_InitStruct.Speed = GPIO_SPEED_FREQ_VERY_HIGH;
  HAL_GPIO_Init(GYRO_CS_GPIO_Port, &GPIO_InitStruct);

  /*Configure GPIO pin : M3V3_REG_ON_Pin */
  GPIO_InitStruct.Pin = M3V3_REG_ON_Pin;
  GPIO_InitStruct.Mode = GPIO_MODE_OUTPUT_PP;
  GPIO_InitStruct.Pull = GPIO_NOPULL;
  GPIO_InitStruct.Speed = GPIO_SPEED_FREQ_LOW;
  HAL_GPIO_Init(M3V3_REG_ON_GPIO_Port, &GPIO_InitStruct);

  /*Configure GPIO pins : I2C1_SCL_Pin I2C1_SDA_Pin */
  GPIO_InitStruct.Pin = I2C1_SCL_Pin|I2C1_SDA_Pin;
  GPIO_InitStruct.Mode = GPIO_MODE_AF_OD;
  GPIO_InitStruct.Pull = GPIO_NOPULL;
  GPIO_InitStruct.Speed = GPIO_SPEED_FREQ_VERY_HIGH;
  GPIO_InitStruct.Alternate = GPIO_AF4_I2C1;
  HAL_GPIO_Init(GPIOB, &GPIO_InitStruct);

  /*Configure GPIO pin : GYRO_INT2_Pin */
  GPIO_InitStruct.Pin = GYRO_INT2_Pin;
  GPIO_InitStruct.Mode = GPIO_MODE_EVT_RISING;
  GPIO_InitStruct.Pull = GPIO_NOPULL;
  HAL_GPIO_Init(GYRO_INT2_GPIO_Port, &GPIO_InitStruct);

  /*Configure GPIO pin : XL_INT_Pin */
  GPIO_InitStruct.Pin = XL_INT_Pin;
  GPIO_InitStruct.Mode = GPIO_MODE_EVT_RISING;
  GPIO_InitStruct.Pull = GPIO_NOPULL;
  HAL_GPIO_Init(XL_INT_GPIO_Port, &GPIO_InitStruct);

}

void Error_Handler(void)
{
}
